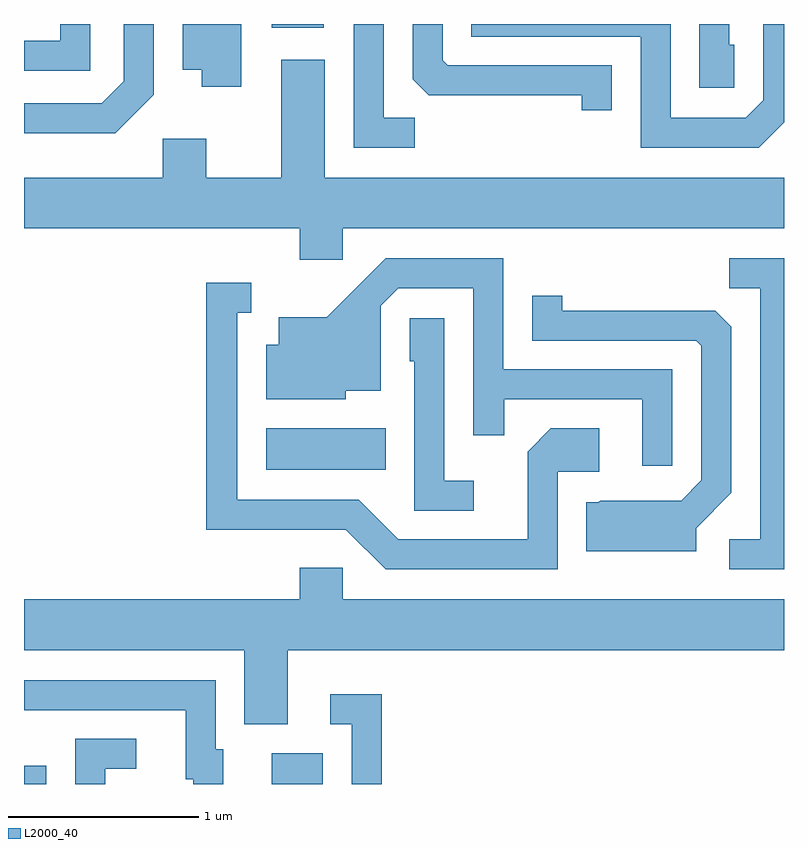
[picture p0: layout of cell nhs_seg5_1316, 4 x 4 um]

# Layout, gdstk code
import gdstk
lib = gdstk.Library(unit=1e-6, precision=1e-09)
def R(c, l, rs):  # rectangles x0, y0, x1, y1
    for r in rs: c.add(gdstk.rectangle(r[:2], r[2:], *l))
def P(c, l, *ps):  # polygons
    for p in ps: c.add(gdstk.Polygon(p, *l))
L2000_40 = (2000, 40)

nhs_seg5_1316 = lib.new_cell('nhs_seg5_1316')
R(nhs_seg5_1316, L2000_40, [(223.611,1476.072,223.729,1476.169), (224.916,1476.072,225.184,1476.234), (224.886,1477.726,225.514,1477.944), (224.916,1480.051,225.189,1480.072)])
P(nhs_seg5_1316, L2000_40, [(227.349,1479.964),(227.324,1479.964),(227.324,1480.072),(227.166,1480.072),(227.166,1479.736),(227.349,1479.736)],
  [(224.754,1480.072),(224.446,1480.072),(224.446,1479.831),(224.546,1479.831),(224.546,1479.741),(224.754,1479.741)],
  [(224.294,1479.699),(224.294,1480.072),(224.136,1480.072),(224.136,1479.772),(224.019,1479.654),(223.611,1479.654),(223.611,1479.496),(224.092,1479.496)],
  [(226.704,1479.854),(225.842,1479.854),(225.814,1479.882),(225.814,1480.072),(225.656,1480.072),(225.656,1479.782),(225.742,1479.696),(226.546,1479.696),(226.546,1479.618),(226.704,1479.618)],
  [(227.611,1479.555),(227.611,1480.072),(227.501,1480.072),(227.501,1479.672),(227.409,1479.579),(227.014,1479.579),(227.014,1480.072),(225.966,1480.072),(225.966,1480.006),(226.856,1480.006),(226.856,1479.421),(227.477,1479.421)],
  [(225.668,1479.579),(225.504,1479.579),(225.504,1480.072),(225.346,1480.072),(225.346,1479.421),(225.668,1479.421)],
  [(223.959,1480.072),(223.801,1480.072),(223.801,1479.984),(223.611,1479.984),(223.611,1479.826),(223.959,1479.826)],
  [(225.194,1479.884),(224.966,1479.884),(224.966,1479.264),(224.569,1479.264),(224.569,1479.469),(224.341,1479.469),(224.341,1479.264),(223.611,1479.264),(223.611,1478.996),(225.061,1478.996),(225.061,1478.831),(225.289,1478.831),(225.289,1478.996),(227.611,1478.996),(227.611,1479.264),(225.194,1479.264)],
  [(227.024,1478.254),(226.134,1478.254),(226.134,1478.839),(225.514,1478.839),(225.204,1478.529),(224.951,1478.529),(224.951,1478.384),(224.886,1478.384),(224.886,1478.096),(225.304,1478.096),(225.304,1478.141),(225.489,1478.141),(225.489,1478.589),(225.582,1478.681),(225.976,1478.681),(225.976,1477.908),(226.139,1477.908),(226.139,1478.096),(226.866,1478.096),(226.866,1477.748),(227.024,1477.748)],
  [(227.611,1478.839),(227.323,1478.839),(227.323,1478.681),(227.486,1478.681),(227.486,1477.359),(227.323,1477.359),(227.323,1477.201),(227.611,1477.201)],
  [(226.419,1477.716),(226.639,1477.716),(226.639,1477.944),(226.384,1477.944),(226.261,1477.822),(226.261,1477.359),(225.582,1477.359),(225.372,1477.569),(224.734,1477.569),(224.734,1478.551),(224.808,1478.551),(224.808,1478.709),(224.571,1478.709),(224.571,1477.411),(225.304,1477.411),(225.514,1477.201),(226.419,1477.201)],
  [(227.149,1477.419),(227.334,1477.604),(227.334,1478.479),(227.249,1478.564),(226.444,1478.564),(226.444,1478.643),(226.286,1478.643),(226.286,1478.406),(227.149,1478.406),(227.176,1478.379),(227.176,1477.672),(227.069,1477.564),(226.644,1477.564),(226.634,1477.554),(226.571,1477.554),(226.571,1477.296),(227.149,1477.296)],
  [(225.978,1477.669),(225.824,1477.669),(225.824,1478.524),(225.641,1478.524),(225.641,1478.296),(225.666,1478.296),(225.666,1477.511),(225.978,1477.511)],
  [(224.999,1476.776),(227.611,1476.776),(227.611,1477.044),(225.289,1477.044),(225.289,1477.209),(225.061,1477.209),(225.061,1477.044),(223.611,1477.044),(223.611,1476.776),(224.771,1476.776),(224.771,1476.386),(224.999,1476.386)],
  [(224.659,1476.254),(224.619,1476.254),(224.619,1476.619),(223.611,1476.619),(223.611,1476.461),(224.461,1476.461),(224.461,1476.096),(224.501,1476.096),(224.501,1476.072),(224.659,1476.072)],
  [(225.494,1476.544),(225.223,1476.544),(225.223,1476.386),(225.336,1476.386),(225.336,1476.072),(225.494,1476.072)],
  [(224.039,1476.151),(224.203,1476.151),(224.203,1476.309),(223.881,1476.309),(223.881,1476.072),(224.039,1476.072)])

lib.write_gds('nhs_seg5_1316.gds')
